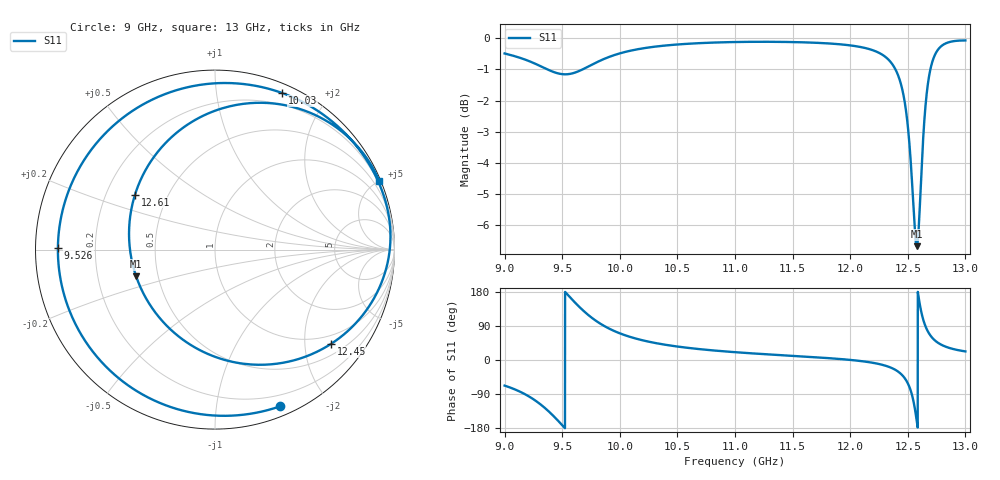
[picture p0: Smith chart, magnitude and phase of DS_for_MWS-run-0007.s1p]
! TOUCHSTONE file generated by CST DESIGN STUDIO
! Date and time: Wed Feb  5 13:21:52 2025
! Project name: C:\Work\MatlabApps\UnitCellOptimizationMatlab\CST\unitcell.cst
! Tree item: Tasks\Sweep1\SPara1\S-Parameters
! Header version: 2024
! Port assignment regex: !\s*Touchstone port\s*([0-9]+)\s*=\s*(CST MWS port|CST DES external port|CST DES block port)\s*(.+)\s* \(\"(.*)\"\)(\s*mode\s*([0-9]+))?.*
! Touchstone port assignment:
! Touchstone port 1 = CST DES external port 1 ("")
# GHz S MA R 50
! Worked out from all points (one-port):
!   4001 points, 9 GHz to 13 GHz, reference 50 ohm
!   lowest |S11| = -6.7 dB at 12.58 GHz (marker M1), VSWR 2.73, Z = 18.7 - j7.11 ohm
!   |S11| at or under -10 dB: nowhere
!   S11 on the Smith chart (normalised r, x): 9 GHz: 0.09, -1.49; 9.526 GHz: 0.07, +0.01; 10.03 GHz: 0.09, +1.51; 12.45 GHz: 0.76, -2.61; 12.61 GHz: 0.32, +0.28; 13 GHz: 0.10, +4.98
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9  0.9455 -67.6
9.173  0.925 -89.6
9.29  0.9061 -112.1
9.391  0.8881 -138.0
9.5  0.8759 -172.0
9.526  0.8753 179.4
9.64  0.8851 142.7
9.738  0.9032 115.9
9.849  0.9241 92.5
10  0.9458 70.4
10.031  0.9492 66.9
10.234  0.9656 49.5
10.5  0.9774 35.5
11  0.9863 20.6
11.5  0.9861 10.9
12  0.9741 0.3
12.311  0.9319 -15.5
12.449  0.8325 -39.2
12.5  0.7235 -61.5
12.542  0.5654 -98.9
12.578  0.464 -161.3
12.605  0.5408 145.5
12.632  0.6834 108.6
12.659  0.7983 85.0
12.701  0.8997 62.8
12.748  0.9503 48.5
12.843  0.9837 33.6
13  0.992 22.7
